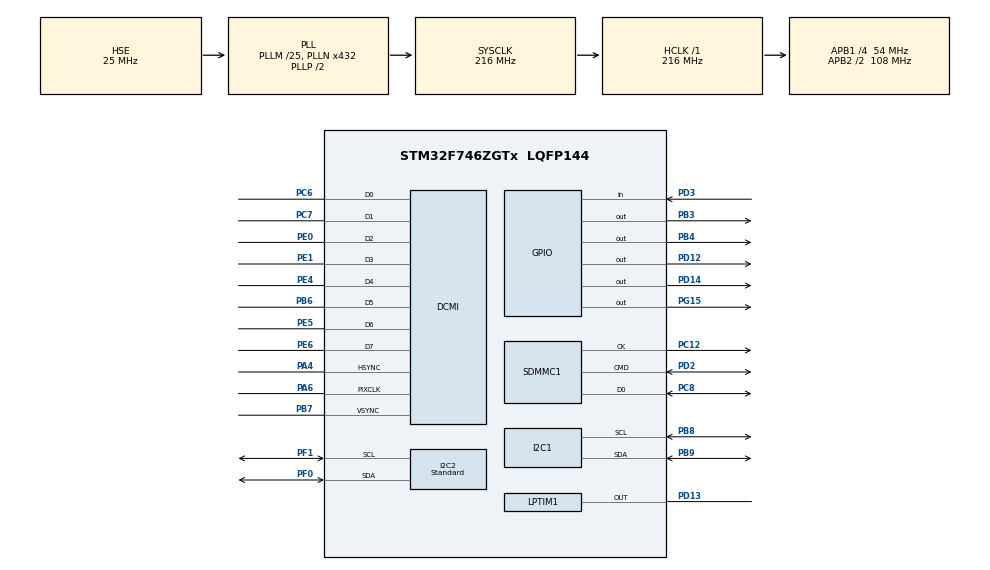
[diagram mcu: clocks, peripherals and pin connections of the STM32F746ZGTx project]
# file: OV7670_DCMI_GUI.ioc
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CORTEX_M7.ART_ACCLERATOR_ENABLE=0
CORTEX_M7.CPU_DCache=Enabled
CORTEX_M7.CPU_ICache=Enabled
CORTEX_M7.PREFETCH_ENABLE=1
DCMI.PCKPolarity=DCMI_PCKPOLARITY_RISING
DCMI.VSPolarity=DCMI_VSPOLARITY_HIGH
Dma.DCMI.0.Direction=DMA_PERIPH_TO_MEMORY
Dma.DCMI.0.FIFOMode=DMA_FIFOMODE_DISABLE
Dma.DCMI.0.Instance=DMA2_Stream1
Dma.DCMI.0.MemDataAlignment=DMA_MDATAALIGN_WORD
Dma.DCMI.0.MemInc=DMA_MINC_ENABLE
Dma.DCMI.0.Mode=DMA_NORMAL
Dma.DCMI.0.PeriphDataAlignment=DMA_PDATAALIGN_WORD
Dma.DCMI.0.PeriphInc=DMA_PINC_DISABLE
Dma.DCMI.0.Priority=DMA_PRIORITY_LOW
Dma.Request0=DCMI
FATFS._USE_FIND=1
I2C1.Timing=0x20404768
I2C2.Analog_Filter=I2C_ANALOGFILTER_DISABLE
I2C2.I2C_Speed_Mode=I2C_Standard
I2C2.Timing=0x10606AA0
LPTIM1.ClockPrescaler=LPTIM_PRESCALER_DIV1
Mcu.Family=STM32F7
Mcu.Name=STM32F746ZGTx
Mcu.Package=LQFP144
NVIC.DCMI_IRQn=true\:0\:0\:true\:false\:true\:true\:true
NVIC.DMA2_Stream1_IRQn=true\:0\:0\:true\:false\:true\:false\:true
NVIC.PriorityGroup=NVIC_PRIORITYGROUP_4
NVIC.TIM3_IRQn=true\:0\:0\:false\:false\:true\:true\:true
PA4.GPIO_PuPd=GPIO_PULLDOWN
PA4.GPIO_Speed=GPIO_SPEED_FREQ_VERY_HIGH
PA4.Mode=Slave_8_bits_External_Synchro
PA4.Signal=DCMI_HSYNC
PA6.GPIO_PuPd=GPIO_PULLDOWN
PA6.GPIO_Speed=GPIO_SPEED_FREQ_VERY_HIGH
PA6.Mode=Slave_8_bits_External_Synchro
PA6.Signal=DCMI_PIXCLK
PB3.Signal=GPIO_Output
PB4.Signal=GPIO_Output
PB6.GPIO_PuPd=GPIO_PULLDOWN
PB6.GPIO_Speed=GPIO_SPEED_FREQ_VERY_HIGH
PB6.Mode=Slave_8_bits_External_Synchro
PB6.Signal=DCMI_D5
PB7.GPIO_PuPd=GPIO_PULLDOWN
PB7.GPIO_Speed=GPIO_SPEED_FREQ_VERY_HIGH
PB7.Mode=Slave_8_bits_External_Synchro
PB7.Signal=DCMI_VSYNC
PB8.Mode=I2C
PB8.Signal=I2C1_SCL
PB9.Mode=I2C
PB9.Signal=I2C1_SDA
PC12.Mode=SD_1_bit
PC12.Signal=SDMMC1_CK
PC6.GPIO_PuPd=GPIO_PULLDOWN
PC6.GPIO_Speed=GPIO_SPEED_FREQ_VERY_HIGH
PC6.Mode=Slave_8_bits_External_Synchro
PC6.Signal=DCMI_D0
PC7.GPIO_PuPd=GPIO_PULLDOWN
PC7.GPIO_Speed=GPIO_SPEED_FREQ_VERY_HIGH
PC7.Mode=Slave_8_bits_External_Synchro
PC7.Signal=DCMI_D1
PC8.Mode=SD_1_bit
PC8.Signal=SDMMC1_D0
PD12.GPIO_PuPd=GPIO_PULLUP
PD12.Signal=GPIO_Output
PD13.GPIO_Speed=GPIO_SPEED_FREQ_VERY_HIGH
PD13.Mode=WaveformGeneration
PD13.Signal=LPTIM1_OUT
PD14.GPIO_PuPd=GPIO_PULLUP
PD14.Signal=GPIO_Output
PD2.Mode=SD_1_bit
PD2.Signal=SDMMC1_CMD
PD3.Signal=GPIO_Input
PE0.GPIO_PuPd=GPIO_PULLDOWN
PE0.GPIO_Speed=GPIO_SPEED_FREQ_VERY_HIGH
PE0.Mode=Slave_8_bits_External_Synchro
PE0.Signal=DCMI_D2
PE1.GPIO_PuPd=GPIO_PULLDOWN
PE1.GPIO_Speed=GPIO_SPEED_FREQ_VERY_HIGH
PE1.Mode=Slave_8_bits_External_Synchro
PE1.Signal=DCMI_D3
PE4.GPIO_PuPd=GPIO_PULLDOWN
PE4.GPIO_Speed=GPIO_SPEED_FREQ_VERY_HIGH
PE4.Mode=Slave_8_bits_External_Synchro
PE4.Signal=DCMI_D4
PE5.GPIO_PuPd=GPIO_PULLDOWN
PE5.GPIO_Speed=GPIO_SPEED_FREQ_VERY_HIGH
PE5.Mode=Slave_8_bits_External_Synchro
PE5.Signal=DCMI_D6
PE6.GPIO_PuPd=GPIO_PULLDOWN
PE6.GPIO_Speed=GPIO_SPEED_FREQ_VERY_HIGH
PE6.Mode=Slave_8_bits_External_Synchro
PE6.Signal=DCMI_D7
PF0.Mode=I2C
PF0.Signal=I2C2_SDA
PF1.Mode=I2C
PF1.Signal=I2C2_SCL
PG15.Signal=GPIO_Output
PH0/OSC_IN.Mode=HSE-External-Oscillator
PH0/OSC_IN.Signal=RCC_OSC_IN
PH1/OSC_OUT.Mode=HSE-External-Oscillator
PH1/OSC_OUT.Signal=RCC_OSC_OUT
ProjectManager.HeapSize=0x200
ProjectManager.StackSize=0x400
ProjectManager.TargetToolchain=STM32CubeIDE
RCC.AHBFreq_Value=216000000
RCC.APB1CLKDivider=RCC_HCLK_DIV4
RCC.APB1Freq_Value=54000000
RCC.APB1TimFreq_Value=108000000
RCC.APB2CLKDivider=RCC_HCLK_DIV2
RCC.APB2Freq_Value=108000000
RCC.APB2TimFreq_Value=216000000
RCC.CortexFreq_Value=216000000
RCC.HCLKFreq_Value=216000000
RCC.HSE_VALUE=25000000
RCC.HSI_VALUE=16000000
RCC.LSE_VALUE=32768
RCC.PLLM=25
RCC.PLLN=432
RCC.PLLQ=9
RCC.PLLSourceVirtual=RCC_PLLSOURCE_HSE
RCC.SDMMCClockSelection=RCC_SDMMC1CLKSOURCE_CLK48
RCC.SYSCLKFreq_VALUE=216000000
RCC.SYSCLKSource=RCC_SYSCLKSOURCE_PLLCLK
RCC.USBFreq_Value=48000000
RCC.VCOOutputFreq_Value=432000000
TIM3.AutoReloadPreload=TIM_AUTORELOAD_PRELOAD_ENABLE
TIM3.ClockDivision=TIM_CLOCKDIVISION_DIV4
TIM3.Period=1000
TIM3.Prescaler=27
VP_FATFS_VS_SDIO.Mode=SDIO
VP_LIBJPEG_VS_JPEGLIB.Mode=Enabled
VP_LPTIM1_VS_LPTIM_counterModeInternalClock.Mode=Counts__internal_clock_event_00
VP_TIM3_VS_ClockSourceINT.Mode=Internal
board=custom

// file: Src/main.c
/* USER CODE BEGIN Header */
/**
  ******************************************************************************
  * @file           : main.c
  * @brief          : Main program body
  ******************************************************************************
  * @attention
  *
  * <h2><center>&copy; Copyright (c) 2021 STMicroelectronics.
  * All rights reserved.</center></h2>
  *
  * This software component is licensed by ST under Ultimate Liberty license
  * SLA0044, the "License"; You may not use this file except in compliance with
  * the License. You may obtain a copy of the License at:
  *                             www.st.com/SLA0044
  *
  ******************************************************************************
  */
/* USER CODE END Header */

#include "main.h"
#include "fatfs.h"
#include "libjpeg.h"

/* USER CODE BEGIN Includes */
#include <string.h>
#include <stdio.h>
#include <stdint.h>
#include <stdbool.h>
//STemWin
#include "WM.h"
#include "GUI.h"
//Hardware
#include "SSD1963.h"
#include "STMPE610.h"
#include "OV7670.h"
//Windows
#include "MainWindowDLG.h"
#include "SettingsDLG.h"
//Middleware
#include "img.h"
/* USER CODE END Includes */

DCMI_HandleTypeDef hdcmi;
DMA_HandleTypeDef hdma_dcmi;

I2C_HandleTypeDef hi2c1;
I2C_HandleTypeDef hi2c2;

LPTIM_HandleTypeDef hlptim1;

SD_HandleTypeDef hsd1;

TIM_HandleTypeDef htim3;

/* USER CODE BEGIN PV */

WM_HWIN hWin;
WM_HWIN hWin1;

#define I2C_pins	1
#define DCMI_pins	0

#define STREAM 		0
#define STOP 		1
#define PROCESS_TP 	2
#define START 		3
#define SETTING 	4

uint8_t menu=0, enable_tp=0;
int keyPressed = 0;
uint8_t scale=1;

Image_info image;

Camera_settings OV7670_settings={
		QVGA, 		//Resolution
		YUV422, 	//Format
		NORMAL, 	//Effect
		ON,			//AEC
		ON, 		//AGC
		ON, 		//AWB
		OFF,		//Color bar
		OFF,		//vertical flip
		OFF,		//Horizontal flip
		OFF,		//Night mode
		OFF,		//ASC
		ON,			//De-noise
		ON,			//Banding filter
		HISTOGRAM,	//AEC algorithm
		QUARTER_FPS,//Min. fps in night mode
		F_AUTO,		//Auto detect banding freq.
		256, 		//Exposure - 2 bytes
		4, 			//Gain	[0-7]=[1-128]
		160,		//Brightness - byte
		64, 		//Contrast - byte
		80, 		//Saturation - byte
		2,			//Sharpness	- [0-31]
		0,			//De-noise strength - byte
		x16, 		//Gain ceiling
		77, 		//R channel gain - byte
		103, 		//G channel gain - byte
		153			//B channel gain - byte
};

FATFS myFAT;
FIL myFile;
DIR dr;
FILINFO fno={0,0,0,0,{0}};
int file_index=1;
uint16_t image_count=0;

/* Private variables ---------------------------------------------------------*/
/* USER CODE END PV */

void SystemClock_Config(void);
static void MX_GPIO_Init(void);
static void MX_DMA_Init(void);
static void MX_SDMMC1_SD_Init(void);
static void MX_I2C2_Init(void);
static void MX_DCMI_Init(void);
static void MX_LPTIM1_Init(void);
static void MX_I2C1_Init(void);
static void MX_TIM3_Init(void);
/* USER CODE BEGIN PFP */
void use_PB6_PB7_as(uint8_t AF_pins);
void updateCameraSettings(Camera_settings *OV7670);
void updateSettingsWindow(Camera_settings OV7670);
void saveJPGtoSD(void);
void loadJPGfromSD(void);
/* Private function prototypes -----------------------------------------------*/

extern volatile GUI_TIMER_TIME OS_TimeMS;
void HAL_SYSTICK_Callback(void)
{
	OS_TimeMS++;
}

/* USER CODE END PFP */

int main(void)
{

  /* Enable I-Cache---------------------------------------------------------*/
  SCB_EnableICache();

  /* Enable D-Cache---------------------------------------------------------*/
  SCB_EnableDCache();

  /* MCU Configuration--------------------------------------------------------*/

  /* Reset of all peripherals, Initializes the Flash interface and the Systick. */
  HAL_Init();

  /* Configure the system clock */
  SystemClock_Config();

  /* Initialize all configured peripherals */
  MX_GPIO_Init();
  MX_DMA_Init();
  MX_SDMMC1_SD_Init();
  MX_FATFS_Init();
  MX_I2C2_Init();
  MX_DCMI_Init();
  MX_LPTIM1_Init();
  MX_I2C1_Init();
  MX_TIM3_Init();
  MX_LIBJPEG_Init();
  /* USER CODE BEGIN 2 */

  //Notice: PB6 and PB7 are shared between camera module (DCMI) and touch panel controller (I2C1)
  //Power down camera module and config PB6 and PB7 as I2C1 pins for touch panel controller
  OV7670_Power(DISABLE);
  HAL_GPIO_DeInit(GPIOB, GPIO_PIN_8|GPIO_PIN_9); //PB8 & PB9 are set as I2C1 pins with CubeMX
  use_PB6_PB7_as(I2C_pins);	//Switch I2C1 to PB6 and PB7

  //Init and map peripherals
  Init_LCD_GPIO();
  Init_TOUCH_GPIO(hi2c1);
  STMPE610_Init();
  STMPE610_read_xyz();
  //I2C2 is used for SCCB and LPTIM1 for XLCK generation
  OV7670_Init(&hdcmi, &hdma_dcmi, &hi2c2, &hlptim1);

  HAL_Delay(100);

  //init GUI

  WM_SetCreateFlags(WM_CF_MEMDEV);
  GUI_Init();
  GUI_Clear();
  hWin = CreateMainWindow();
  GUI_Exec();

  //default state: stop capture
  menu=STOP;

  //UNLINK PATH
  FATFS_UnLinkDriver(SDPath);
  HAL_Delay(10);

  //TIM3 checks for touch detection - if touched capture is stopped
  HAL_TIM_Base_Start_IT(&htim3);

  //Due to JPG recording GUI_NUMBYTES had to be reduced
  for(int i=0; i<12;i++)
  {
	  GUI_RECT rect = {0, i*40, 800, (i+1)*40};
	  WM_InvalidateRect(hWin,&rect);
	  GUI_Exec();
  }

  /* USER CODE END 2 */

  /* Infinite loop */
  while (1)
  {

    /* USER CODE BEGIN 3 */

	  switch(menu)
	  {
	  	  case STREAM://draw captured data
	  		  	  	  drawImage(image, scale);
	  	  	  	  	  break;
	  	  case STOP:  //stop capture and power down camera so touch panel can be used
	  		  	  	  OV7670_Stop();
	  		  	  	  OV7670_PowerDown();

	  	  	  	  	  use_PB6_PB7_as(I2C_pins);
	  	  	  	  	  enable_tp=1;

	  	  	  	  	  menu=PROCESS_TP;
	  	  case PROCESS_TP://process touch panel
			  	  	  HAL_GPIO_WritePin(GPIOG, GPIO_PIN_15, GPIO_PIN_RESET);

			  	  	  STMPE610_read_xyz();

					  keyPressed=GUI_GetKey();

					  switch(keyPressed)
					  {
					  	  case BTN_CANCEL://Cancel - Discard changed settings
					  		  WM_DeleteWindow(hWin1);
					  		  WM_InvalidateWindow(hWin);
					  		  break;
					  	  case BTN_OK://Ok - Save settings
					  		  updateCameraSettings(&OV7670_settings);
					  		  scale=SPINBOX_GetValue(WM_GetDialogItem(hWin1, SBOX_SCALE));
							  WM_DeleteWindow(hWin1);
							  WM_InvalidateWindow(hWin);
					  		  break;
					  	  case BTN_STREAM://Start camera
					  		  menu=START;
					  		  break;
					  	  case BTN_SETTINGS: // Run settings window and update values
					  		  hWin1 = CreateSettings();
					  		  updateSettingsWindow(OV7670_settings);
							  SPINBOX_SetValue(WM_GetDialogItem(hWin1, SBOX_SCALE), scale);
					  		  break;
					  	  case BTN_CAPTURE://Capture - save JPG
					  		  saveJPGtoSD();
					  		  break;
					  	  case BTN_GALLERY://Read - load JPG
					  		  loadJPGfromSD();
					  		  clearImage();
					  		  drawImage(image, 1);
					  		  break;
					  }
	  		  	  	  break;
			case START: //power up, config camera and start capture
						enable_tp=0;
						STMPE610_read_xyz();
						use_PB6_PB7_as(DCMI_pins);

						OV7670_PowerUp();
						OV7670_UpdateSettings(OV7670_settings);
						OV7670_SetFrameRate(XCLK_DIV(1), PLL_x4);//seems less stable for higher pll
						HAL_Delay(10);

						image.address=getImageAddress();
						OV7670_Start(CONTINUOUS,image.address);
						OV7670_getImageInfo(&image.width, &image.height, &image.format);

						clearImage();
						menu=STREAM;
						break;
	  }

  	  GUI_TOUCH_Exec();
  	  GUI_Exec();

}
  /* USER CODE END 3 */
}

void SystemClock_Config(void)
{
  RCC_OscInitTypeDef RCC_OscInitStruct = {0};
  RCC_ClkInitTypeDef RCC_ClkInitStruct = {0};
  RCC_PeriphCLKInitTypeDef PeriphClkInitStruct = {0};

  /** Configure the main internal regulator output voltage
  */
  __HAL_RCC_PWR_CLK_ENABLE();
  __HAL_PWR_VOLTAGESCALING_CONFIG(PWR_REGULATOR_VOLTAGE_SCALE1);
  /** Initializes the CPU, AHB and APB busses clocks
  */
  RCC_OscInitStruct.OscillatorType = RCC_OSCILLATORTYPE_HSE;
  RCC_OscInitStruct.HSEState = RCC_HSE_ON;
  RCC_OscInitStruct.PLL.PLLState = RCC_PLL_ON;
  RCC_OscInitStruct.PLL.PLLSource = RCC_PLLSOURCE_HSE;
  RCC_OscInitStruct.PLL.PLLM = 25;
  RCC_OscInitStruct.PLL.PLLN = 432;
  RCC_OscInitStruct.PLL.PLLP = RCC_PLLP_DIV2;
  RCC_OscInitStruct.PLL.PLLQ = 9;
  if (HAL_RCC_OscConfig(&RCC_OscInitStruct) != HAL_OK)
  {
    Error_Handler();
  }
  /** Activate the Over-Drive mode
  */
  if (HAL_PWREx_EnableOverDrive() != HAL_OK)
  {
    Error_Handler();
  }
  /** Initializes the CPU, AHB and APB busses clocks
  */
  RCC_ClkInitStruct.ClockType = RCC_CLOCKTYPE_HCLK|RCC_CLOCKTYPE_SYSCLK
                              |RCC_CLOCKTYPE_PCLK1|RCC_CLOCKTYPE_PCLK2;
  RCC_ClkInitStruct.SYSCLKSource = RCC_SYSCLKSOURCE_PLLCLK;
  RCC_ClkInitStruct.AHBCLKDivider = RCC_SYSCLK_DIV1;
  RCC_ClkInitStruct.APB1CLKDivider = RCC_HCLK_DIV4;
  RCC_ClkInitStruct.APB2CLKDivider = RCC_HCLK_DIV2;

  if (HAL_RCC_ClockConfig(&RCC_ClkInitStruct, FLASH_LATENCY_7) != HAL_OK)
  {
    Error_Handler();
  }
  PeriphClkInitStruct.PeriphClockSelection = RCC_PERIPHCLK_LPTIM1|RCC_PERIPHCLK_I2C1
                              |RCC_PERIPHCLK_I2C2|RCC_PERIPHCLK_SDMMC1
                              |RCC_PERIPHCLK_CLK48;
  PeriphClkInitStruct.I2c1ClockSelection = RCC_I2C1CLKSOURCE_PCLK1;
  PeriphClkInitStruct.I2c2ClockSelection = RCC_I2C2CLKSOURCE_PCLK1;
  PeriphClkInitStruct.Lptim1ClockSelection = RCC_LPTIM1CLKSOURCE_PCLK;
  PeriphClkInitStruct.Clk48ClockSelection = RCC_CLK48SOURCE_PLL;
  PeriphClkInitStruct.Sdmmc1ClockSelection = RCC_SDMMC1CLKSOURCE_CLK48;
  if (HAL_RCCEx_PeriphCLKConfig(&PeriphClkInitStruct) != HAL_OK)
  {
    Error_Handler();
  }
}

static void MX_DCMI_Init(void)
{

  hdcmi.Instance = DCMI;
  hdcmi.Init.SynchroMode = DCMI_SYNCHRO_HARDWARE;
  hdcmi.Init.PCKPolarity = DCMI_PCKPOLARITY_RISING;
  hdcmi.Init.VSPolarity = DCMI_VSPOLARITY_HIGH;
  hdcmi.Init.HSPolarity = DCMI_HSPOLARITY_LOW;
  hdcmi.Init.CaptureRate = DCMI_CR_ALL_FRAME;
  hdcmi.Init.ExtendedDataMode = DCMI_EXTEND_DATA_8B;
  hdcmi.Init.JPEGMode = DCMI_JPEG_DISABLE;
  hdcmi.Init.ByteSelectMode = DCMI_BSM_ALL;
  hdcmi.Init.ByteSelectStart = DCMI_OEBS_ODD;
  hdcmi.Init.LineSelectMode = DCMI_LSM_ALL;
  hdcmi.Init.LineSelectStart = DCMI_OELS_ODD;
  if (HAL_DCMI_Init(&hdcmi) != HAL_OK)
  {
    Error_Handler();
  }

}

static void MX_I2C1_Init(void)
{

  hi2c1.Instance = I2C1;
  hi2c1.Init.Timing = 0x20404768;
  hi2c1.Init.OwnAddress1 = 0;
  hi2c1.Init.AddressingMode = I2C_ADDRESSINGMODE_7BIT;
  hi2c1.Init.DualAddressMode = I2C_DUALADDRESS_DISABLE;
  hi2c1.Init.OwnAddress2 = 0;
  hi2c1.Init.OwnAddress2Masks = I2C_OA2_NOMASK;
  hi2c1.Init.GeneralCallMode = I2C_GENERALCALL_DISABLE;
  hi2c1.Init.NoStretchMode = I2C_NOSTRETCH_DISABLE;
  if (HAL_I2C_Init(&hi2c1) != HAL_OK)
  {
    Error_Handler();
  }
  /** Configure Analogue filter
  */
  if (HAL_I2CEx_ConfigAnalogFilter(&hi2c1, I2C_ANALOGFILTER_ENABLE) != HAL_OK)
  {
    Error_Handler();
  }
  /** Configure Digital filter
  */
  if (HAL_I2CEx_ConfigDigitalFilter(&hi2c1, 0) != HAL_OK)
  {
    Error_Handler();
  }

}

static void MX_I2C2_Init(void)
{

  hi2c2.Instance = I2C2;
  hi2c2.Init.Timing = 0x10606AA0;
  hi2c2.Init.OwnAddress1 = 0;
  hi2c2.Init.AddressingMode = I2C_ADDRESSINGMODE_7BIT;
  hi2c2.Init.DualAddressMode = I2C_DUALADDRESS_DISABLE;
  hi2c2.Init.OwnAddress2 = 0;
  hi2c2.Init.OwnAddress2Masks = I2C_OA2_NOMASK;
  hi2c2.Init.GeneralCallMode = I2C_GENERALCALL_DISABLE;
  hi2c2.Init.NoStretchMode = I2C_NOSTRETCH_DISABLE;
  if (HAL_I2C_Init(&hi2c2) != HAL_OK)
  {
    Error_Handler();
  }
  /** Configure Analogue filter
  */
  if (HAL_I2CEx_ConfigAnalogFilter(&hi2c2, I2C_ANALOGFILTER_DISABLE) != HAL_OK)
  {
    Error_Handler();
  }
  /** Configure Digital filter
  */
  if (HAL_I2CEx_ConfigDigitalFilter(&hi2c2, 0) != HAL_OK)
  {
    Error_Handler();
  }

}

static void MX_LPTIM1_Init(void)
{

  hlptim1.Instance = LPTIM1;
  hlptim1.Init.Clock.Source = LPTIM_CLOCKSOURCE_APBCLOCK_LPOSC;
  hlptim1.Init.Clock.Prescaler = LPTIM_PRESCALER_DIV1;
  hlptim1.Init.Trigger.Source = LPTIM_TRIGSOURCE_SOFTWARE;
  hlptim1.Init.OutputPolarity = LPTIM_OUTPUTPOLARITY_HIGH;
  hlptim1.Init.UpdateMode = LPTIM_UPDATE_IMMEDIATE;
  hlptim1.Init.CounterSource = LPTIM_COUNTERSOURCE_INTERNAL;
  if (HAL_LPTIM_Init(&hlptim1) != HAL_OK)
  {
    Error_Handler();
  }

}

static void MX_SDMMC1_SD_Init(void)
{

  hsd1.Instance = SDMMC1;
  hsd1.Init.ClockEdge = SDMMC_CLOCK_EDGE_RISING;
  hsd1.Init.ClockBypass = SDMMC_CLOCK_BYPASS_DISABLE;
  hsd1.Init.ClockPowerSave = SDMMC_CLOCK_POWER_SAVE_DISABLE;
  hsd1.Init.BusWide = SDMMC_BUS_WIDE_1B;
  hsd1.Init.HardwareFlowControl = SDMMC_HARDWARE_FLOW_CONTROL_DISABLE;
  hsd1.Init.ClockDiv = 0;

}

static void MX_TIM3_Init(void)
{

  TIM_ClockConfigTypeDef sClockSourceConfig = {0};
  TIM_MasterConfigTypeDef sMasterConfig = {0};

  htim3.Instance = TIM3;
  htim3.Init.Prescaler = 27;
  htim3.Init.CounterMode = TIM_COUNTERMODE_UP;
  htim3.Init.Period = 1000;
  htim3.Init.ClockDivision = TIM_CLOCKDIVISION_DIV4;
  htim3.Init.AutoReloadPreload = TIM_AUTORELOAD_PRELOAD_ENABLE;
  if (HAL_TIM_Base_Init(&htim3) != HAL_OK)
  {
    Error_Handler();
  }
  sClockSourceConfig.ClockSource = TIM_CLOCKSOURCE_INTERNAL;
  if (HAL_TIM_ConfigClockSource(&htim3, &sClockSourceConfig) != HAL_OK)
  {
    Error_Handler();
  }
  sMasterConfig.MasterOutputTrigger = TIM_TRGO_RESET;
  sMasterConfig.MasterSlaveMode = TIM_MASTERSLAVEMODE_DISABLE;
  if (HAL_TIMEx_MasterConfigSynchronization(&htim3, &sMasterConfig) != HAL_OK)
  {
    Error_Handler();
  }

}

static void MX_DMA_Init(void)
{

  /* DMA controller clock enable */
  __HAL_RCC_DMA2_CLK_ENABLE();

  /* DMA interrupt init */
  /* DMA2_Stream1_IRQn interrupt configuration */
  HAL_NVIC_SetPriority(DMA2_Stream1_IRQn, 0, 0);
  HAL_NVIC_EnableIRQ(DMA2_Stream1_IRQn);

}

static void MX_GPIO_Init(void)
{
  GPIO_InitTypeDef GPIO_InitStruct = {0};

  /* GPIO Ports Clock Enable */
  __HAL_RCC_GPIOE_CLK_ENABLE();
  __HAL_RCC_GPIOF_CLK_ENABLE();
  __HAL_RCC_GPIOH_CLK_ENABLE();
  __HAL_RCC_GPIOA_CLK_ENABLE();
  __HAL_RCC_GPIOD_CLK_ENABLE();
  __HAL_RCC_GPIOC_CLK_ENABLE();
  __HAL_RCC_GPIOG_CLK_ENABLE();
  __HAL_RCC_GPIOB_CLK_ENABLE();

  /*Configure GPIO pin Output Level */
  HAL_GPIO_WritePin(GPIOD, GPIO_PIN_12|GPIO_PIN_14, GPIO_PIN_RESET);

  /*Configure GPIO pin Output Level */
  HAL_GPIO_WritePin(GPIOG, GPIO_PIN_15, GPIO_PIN_RESET);

  /*Configure GPIO pin Output Level */
  HAL_GPIO_WritePin(GPIOB, GPIO_PIN_3|GPIO_PIN_4, GPIO_PIN_RESET);

  /*Configure GPIO pins : PD12 PD14 */
  GPIO_InitStruct.Pin = GPIO_PIN_12|GPIO_PIN_14;
  GPIO_InitStruct.Mode = GPIO_MODE_OUTPUT_PP;
  GPIO_InitStruct.Pull = GPIO_PULLUP;
  GPIO_InitStruct.Speed = GPIO_SPEED_FREQ_LOW;
  HAL_GPIO_Init(GPIOD, &GPIO_InitStruct);

  /*Configure GPIO pin : PD3 */
  GPIO_InitStruct.Pin = GPIO_PIN_3;
  GPIO_InitStruct.Mode = GPIO_MODE_INPUT;
  GPIO_InitStruct.Pull = GPIO_NOPULL;
  HAL_GPIO_Init(GPIOD, &GPIO_InitStruct);

  /*Configure GPIO pin : PG15 */
  GPIO_InitStruct.Pin = GPIO_PIN_15;
  GPIO_InitStruct.Mode = GPIO_MODE_OUTPUT_PP;
  GPIO_InitStruct.Pull = GPIO_NOPULL;
  GPIO_InitStruct.Speed = GPIO_SPEED_FREQ_LOW;
  HAL_GPIO_Init(GPIOG, &GPIO_InitStruct);

  /*Configure GPIO pins : PB3 PB4 */
  GPIO_InitStruct.Pin = GPIO_PIN_3|GPIO_PIN_4;
  GPIO_InitStruct.Mode = GPIO_MODE_OUTPUT_PP;
  GPIO_InitStruct.Pull = GPIO_NOPULL;
  GPIO_InitStruct.Speed = GPIO_SPEED_FREQ_LOW;
  HAL_GPIO_Init(GPIOB, &GPIO_InitStruct);

}

/* USER CODE BEGIN 4 */

void HAL_TIM_PeriodElapsedCallback(TIM_HandleTypeDef *htim)
{
	if(STMPE610_IsTouched()&&(enable_tp==0))
	{
		HAL_GPIO_WritePin(GPIOG, GPIO_PIN_15, GPIO_PIN_SET);
		menu=STOP;
	}
}

void use_PB6_PB7_as(uint8_t AF_pins)
{
	GPIO_InitTypeDef GPIO_InitStruct;

	if(AF_pins)
	{
	///	__HAL_RCC_DCMI_CLK_DISABLE();
		/**I2C1 GPIO Configuration
	    PB6     ------> I2C1_SCL
	    PB7     ------> I2C1_SDA
	    */
	    GPIO_InitStruct.Pin = GPIO_PIN_6|GPIO_PIN_7;
	    GPIO_InitStruct.Mode = GPIO_MODE_AF_OD;
	    GPIO_InitStruct.Pull = GPIO_PULLUP;
	    GPIO_InitStruct.Speed = GPIO_SPEED_FREQ_VERY_HIGH;
	    GPIO_InitStruct.Alternate = GPIO_AF4_I2C1;
	    HAL_GPIO_Init(GPIOB, &GPIO_InitStruct);

	    /* Peripheral clock enable */
	 //   __HAL_RCC_I2C1_CLK_ENABLE();
	}
	else
	{
	//	__HAL_RCC_I2C1_CLK_DISABLE();
	    /**DCMI GPIO Configuration
	    PB6     ------> DCMI_D5
	    PB7     ------> DCMI_VSYNC
	    */
		GPIO_InitStruct.Pin = GPIO_PIN_6|GPIO_PIN_7;
		GPIO_InitStruct.Mode = GPIO_MODE_AF_OD;
		GPIO_InitStruct.Pull = GPIO_PULLUP;
		GPIO_InitStruct.Speed = GPIO_SPEED_FREQ_VERY_HIGH;
		GPIO_InitStruct.Alternate = GPIO_AF13_DCMI;
		HAL_GPIO_Init(GPIOB, &GPIO_InitStruct);

		/* Peripheral clock enable */
	//	__HAL_RCC_DCMI_CLK_ENABLE();
	}
}

void updateCameraSettings(Camera_settings *OV7670)
{
	OV7670->resolution=DROPDOWN_GetSel(WM_GetDialogItem(hWin1, DDWN_RESOLUTION));
	OV7670->format=DROPDOWN_GetSel(WM_GetDialogItem(hWin1, DDWN_FORMAT));
	OV7670->effect=DROPDOWN_GetSel(WM_GetDialogItem(hWin1, DDWN_EFFECT));
	OV7670->exposure=SLIDER_GetValue(WM_GetDialogItem(hWin1, SLDR_EXPOSURE));
	OV7670->AEC=CHECKBOX_GetState(WM_GetDialogItem(hWin1,CBOX_EXPOSURE));
	OV7670->algorithm=CHECKBOX_GetState(WM_GetDialogItem(hWin1,CBOX_HIST_AEC));
	OV7670->gain=SLIDER_GetValue(WM_GetDialogItem(hWin1, SLDR_GAIN));
	OV7670->AGC=CHECKBOX_GetState(WM_GetDialogItem(hWin1,CBOX_GAIN));
	OV7670->brightness=SLIDER_GetValue(WM_GetDialogItem(hWin1, SLDR_BRIGHTNESS));
	OV7670->contrast=SLIDER_GetValue(WM_GetDialogItem(hWin1, SLDR_CONTRAST));
	OV7670->saturation=SLIDER_GetValue(WM_GetDialogItem(hWin1, SLDR_SATURATION));
	OV7670->gain_ceiling=SLIDER_GetValue(WM_GetDialogItem(hWin1, SLDR_GAIN_CEIL));
	OV7670->rch_gain=SLIDER_GetValue(WM_GetDialogItem(hWin1, SLDR_RCH_GAIN));
	OV7670->gch_gain=SLIDER_GetValue(WM_GetDialogItem(hWin1, SLDR_GCH_GAIN));
	OV7670->bch_gain=SLIDER_GetValue(WM_GetDialogItem(hWin1, SLDR_BCH_GAIN));
	OV7670->AWB=CHECKBOX_GetState(WM_GetDialogItem(hWin1,CBOX_AWB));
	OV7670->h_flip=CHECKBOX_GetState(WM_GetDialogItem(hWin1,CBOX_HFLIP));
	OV7670->v_flip=CHECKBOX_GetState(WM_GetDialogItem(hWin1,CBOX_VFLIP));
	OV7670->cbar=CHECKBOX_GetState(WM_GetDialogItem(hWin1,CBOX_CBAR));
	OV7670->night_mode=CHECKBOX_GetState(WM_GetDialogItem(hWin1,CBOX_NIGHT_MODE));
	OV7670->ADN=CHECKBOX_GetState(WM_GetDialogItem(hWin1,CBOX_DENOISE));
}
void updateSettingsWindow(Camera_settings OV7670)
{
	DROPDOWN_SetSel(WM_GetDialogItem(hWin1, DDWN_RESOLUTION), OV7670.resolution);
	DROPDOWN_SetSel(WM_GetDialogItem(hWin1, DDWN_FORMAT), OV7670.format);
	DROPDOWN_SetSel(WM_GetDialogItem(hWin1, DDWN_EFFECT), OV7670.effect);
	SLIDER_SetValue(WM_GetDialogItem(hWin1, SLDR_EXPOSURE), OV7670.exposure);
	CHECKBOX_SetState(WM_GetDialogItem(hWin1,CBOX_EXPOSURE), OV7670.AEC);
	CHECKBOX_SetState(WM_GetDialogItem(hWin1,CBOX_HIST_AEC), OV7670.algorithm);
	SLIDER_SetValue(WM_GetDialogItem(hWin1, SLDR_GAIN), OV7670.gain);
	CHECKBOX_SetState(WM_GetDialogItem(hWin1,CBOX_GAIN), OV7670.AGC);
	SLIDER_SetValue(WM_GetDialogItem(hWin1, SLDR_BRIGHTNESS), OV7670.brightness);
	SLIDER_SetValue(WM_GetDialogItem(hWin1, SLDR_CONTRAST), OV7670.contrast);
	SLIDER_SetValue(WM_GetDialogItem(hWin1, SLDR_SATURATION), OV7670.saturation);
	SLIDER_SetValue(WM_GetDialogItem(hWin1, SLDR_GAIN_CEIL), OV7670.gain_ceiling);
	SLIDER_SetValue(WM_GetDialogItem(hWin1, SLDR_RCH_GAIN), OV7670.rch_gain);
	SLIDER_SetValue(WM_GetDialogItem(hWin1, SLDR_GCH_GAIN), OV7670.gch_gain);
	SLIDER_SetValue(WM_GetDialogItem(hWin1, SLDR_BCH_GAIN), OV7670.bch_gain);
	CHECKBOX_SetState(WM_GetDialogItem(hWin1,CBOX_AWB), OV7670.AWB);
	CHECKBOX_SetState(WM_GetDialogItem(hWin1,CBOX_HFLIP), OV7670.h_flip);
	CHECKBOX_SetState(WM_GetDialogItem(hWin1,CBOX_VFLIP), OV7670.v_flip);
	CHECKBOX_SetState(WM_GetDialogItem(hWin1,CBOX_CBAR), OV7670.cbar);
	CHECKBOX_SetState(WM_GetDialogItem(hWin1,CBOX_NIGHT_MODE), OV7670.night_mode);
	CHECKBOX_SetState(WM_GetDialogItem(hWin1,CBOX_DENOISE), OV7670.ADN);

	//Notice labels are updated in SettingsDLG.c based on slider values
}

void saveJPGtoSD(void)
{
	if(HAL_GPIO_ReadPin(GPIOD,GPIO_PIN_3)==GPIO_PIN_RESET)//SD card present?
	{
		HAL_TIM_Base_Stop_IT(&htim3); //temporarily stop timer
		FATFS_LinkDriver(&SD_Driver, SDPath);
		f_mount(&myFAT, SDPath, 1);

		HAL_GPIO_WritePin(GPIOB, GPIO_PIN_4, GPIO_PIN_SET);

		char file_name[20] = {0};
		sprintf(file_name, "JPG/IMG_%d.jpg",image_count);

		f_open(&myFile, file_name, FA_WRITE | FA_CREATE_ALWAYS);
		writeJPG(&myFile, 100, image);

		sprintf(file_name, "IMG_%d.JPG",image_count);
		TEXT_SetText(WM_GetDialogItem(hWin, TXT_JPG), file_name);

		image_count++;

		HAL_GPIO_WritePin(GPIOB, GPIO_PIN_4, GPIO_PIN_RESET);

		f_close(&myFile);
		f_mount(0, SDPath, 1);
		FATFS_UnLinkDriver(SDPath);
		HAL_TIM_Base_Start_IT(&htim3);//start timer
	}
}
void loadJPGfromSD(void)
{
	if(HAL_GPIO_ReadPin(GPIOD,GPIO_PIN_3)==GPIO_PIN_RESET)//SD card present?
	{
		HAL_TIM_Base_Stop_IT(&htim3); 	//temporarily stop timer
		FATFS_LinkDriver(&SD_Driver, SDPath);
		f_mount(&myFAT, SDPath, 1);

		HAL_GPIO_WritePin(GPIOB, GPIO_PIN_3, GPIO_PIN_SET);

		f_opendir(&dr,"JPG");
		if(fno.fname[0])
		{
			for(uint8_t i=0;i<=file_index;i++)f_findnext(&dr, &fno); //go to file
			file_index++;
		}
		if(!fno.fname[0])
		{
			f_findfirst(&dr, &fno, "JPG", "*.jpg");
			file_index=1;
		}

		char file_name[20] = {0};

		sprintf(file_name, "%s/%s", "JPG", fno.fname);
		f_open(&myFile, file_name, FA_READ);
		image.address=getImageAddress();
		readJPG(&myFile, &image);

		TEXT_SetText(WM_GetDialogItem(hWin, TXT_JPG), fno.fname);

		HAL_GPIO_WritePin(GPIOB, GPIO_PIN_3, GPIO_PIN_RESET);

		f_closedir(&dr);
		f_close(&myFile);
		f_mount(0, SDPath, 1);
		FATFS_UnLinkDriver(SDPath);
		HAL_TIM_Base_Start_IT(&htim3); //start timer
	}
}
/* USER CODE END 4 */

void Error_Handler(void)
{
  while(1)
  {
  }
}

/************************ (C) COPYRIGHT STMicroelectronics *****END OF FILE****/
